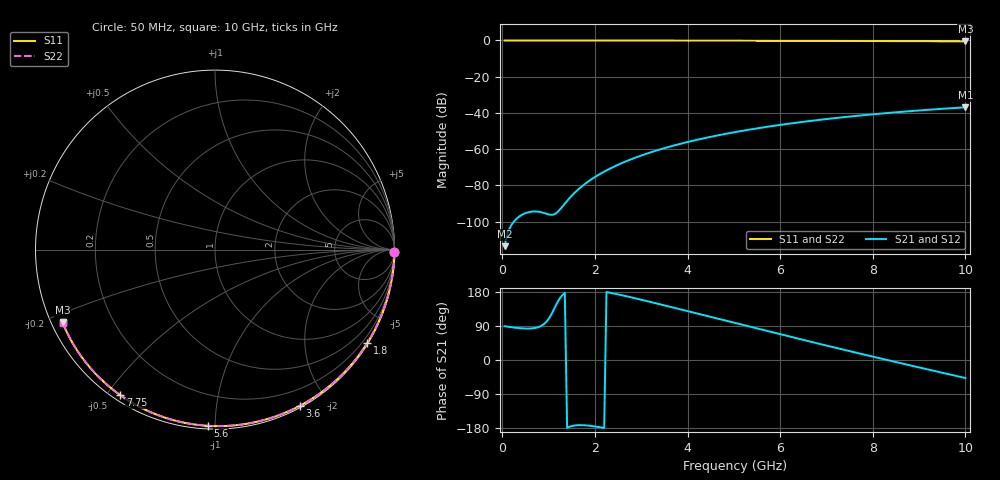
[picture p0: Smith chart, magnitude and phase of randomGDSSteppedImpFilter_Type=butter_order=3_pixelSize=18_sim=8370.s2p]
! freq	dB(S11)	phase(S11)	dB(S12)	phase(S12)
!  dB(S21)	phase(S21)	dB(S22)	phase(S22)
!S-par simulation data
#  GHz  S  DB  R 50
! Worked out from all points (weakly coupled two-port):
!   200 points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, 50 MHz to 10 GHz, reference 50 ohm
!   highest |S21| = -36.92 dB at 10 GHz (marker M1); lowest = -113.6 dB at 50 MHz (marker M2)
!   lowest |S11| = -0.5 dB at 10 GHz (marker M3), VSWR 33.23, Z = 1.58 - j11.3 ohm
!   |S11| at or under -10 dB: nowhere
!   |S22| runs from -0.5 to 0.0 dB; largest |S21 - S12| = 0
!   S11 on the Smith chart (normalised r, x): 50 MHz: open; 1.8 GHz: 0.03, -3.54; 3.6 GHz: 0.02, -1.68; 5.6 GHz: 0.02, -0.96; 7.75 GHz: 0.02, -0.54; 10 GHz: 0.03, -0.23
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0.05  -0.00 -0.9  -113.62 89.1  -113.62 89.1  -0.00 -0.9
0.45  -0.01 -8.0  -95.95 83.3  -95.95 83.3  -0.01 -8.0
0.9  -0.02 -16.0  -95.29 94.8  -95.29 94.8  -0.02 -15.9
1.3  -0.03 -22.9  -91.66 171.5  -91.66 171.5  -0.03 -22.9
1.75  -0.04 -30.7  -79.93 -172.1  -79.93 -172.1  -0.04 -30.7
1.8  -0.04 -31.6  -78.95 -172.5  -78.95 -172.5  -0.04 -31.6
1.95  -0.04 -34.1  -76.26 -174.4  -76.26 -174.4  -0.04 -34.1
2.1  -0.05 -36.7  -73.89 -177.3  -73.89 -177.3  -0.05 -36.7
2.3  -0.05 -40.1  -71.11 178.2  -71.11 178.2  -0.05 -40.1
2.5  -0.06 -43.4  -68.66 173.1  -68.66 173.1  -0.06 -43.4
2.9  -0.06 -50.1  -64.48 162.0  -64.48 162.0  -0.06 -50.1
3.4  -0.08 -58.3  -60.23 147.2  -60.23 147.2  -0.08 -58.3
3.6  -0.08 -61.5  -58.75 141.2  -58.75 141.2  -0.08 -61.5
4.3  -0.10 -72.6  -54.31 119.8  -54.31 119.8  -0.10 -72.6
5.05  -0.13 -84.1  -50.50 96.8  -50.50 96.8  -0.13 -84.0
5.6  -0.15 -92.3  -48.16 80.0  -48.16 80.0  -0.15 -92.3
6.15  -0.18 -100.3  -46.11 63.4  -46.11 63.4  -0.18 -100.3
6.7  -0.21 -108.2  -44.30 47.0  -44.30 47.0  -0.21 -108.2
7.75  -0.29 -123.0  -41.39 16.1  -41.39 16.1  -0.29 -122.9
8.35  -0.34 -131.3  -39.99 -1.2  -39.99 -1.2  -0.34 -131.3
9.2  -0.43 -143.2  -38.28 -25.3  -38.28 -25.3  -0.43 -143.1
10  -0.52 -154.5  -36.92 -47.5  -36.92 -47.5  -0.52 -154.4
